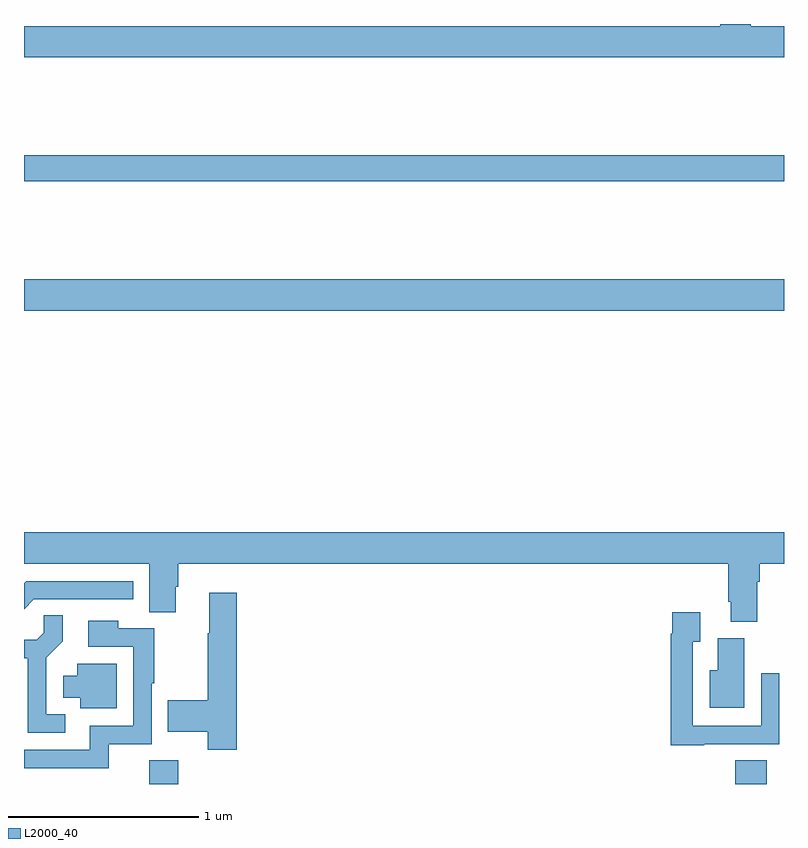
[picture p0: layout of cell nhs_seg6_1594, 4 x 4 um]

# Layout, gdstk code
import gdstk
lib = gdstk.Library(unit=1e-6, precision=1e-09)
def R(c, l, rs):  # rectangles x0, y0, x1, y1
    for r in rs: c.add(gdstk.rectangle(r[:2], r[2:], *l))
def P(c, l, *ps):  # polygons
    for p in ps: c.add(gdstk.Polygon(p, *l))
L2000_40 = (2000, 40)

nhs_seg6_1594 = lib.new_cell('nhs_seg6_1594')
R(nhs_seg6_1594, L2000_40, [(207.659,955.5,207.812,955.625), (210.743,955.5,210.908,955.625), (207,957.992,211,958.156), (207,958.672,211,958.808)])
P(nhs_seg6_1594, L2000_40, [(211,959.488),(210.825,959.488),(210.825,959.5),(210.665,959.5),(210.665,959.488),(207,959.488),(207,959.324),(211,959.324)],
  [(207,956.66),(207.659,956.66),(207.659,956.404),(207.799,956.404),(207.799,956.538),(207.812,956.538),(207.812,956.66),(210.707,956.66),(210.707,956.458),(210.719,956.458),(210.719,956.353),(210.859,956.353),(210.859,956.564),(210.872,956.564),(210.872,956.66),(211,956.66),(211,956.824),(207,956.824)],
  [(207.051,956.472),(207.574,956.472),(207.574,956.568),(207.012,956.568),(207,956.556),(207,956.421)],
  [(208.121,956.506),(207.974,956.506),(207.974,956.293),(207.967,956.293),(207.967,955.941),(207.757,955.941),(207.757,955.775),(207.967,955.775),(207.967,955.68),(208.121,955.68)],
  [(210.579,955.71),(210.975,955.71),(210.975,956.083),(210.879,956.083),(210.879,955.806),(210.519,955.806),(210.519,956.248),(210.559,956.248),(210.559,956.404),(210.411,956.404),(210.411,956.291),(210.403,956.291),(210.403,955.703),(210.579,955.703)],
  [(207.217,955.866),(207.117,955.866),(207.117,956.165),(207.203,956.251),(207.203,956.387),(207.105,956.387),(207.105,956.296),(207.068,956.259),(207,956.259),(207,956.162),(207.02,956.162),(207.02,955.77),(207.217,955.77)],
  [(207.446,955.71),(207.672,955.71),(207.672,956.029),(207.685,956.029),(207.685,956.319),(207.495,956.319),(207.495,956.359),(207.339,956.359),(207.339,956.223),(207.576,956.223),(207.576,955.806),(207.347,955.806),(207.347,955.68),(207,955.68),(207,955.584),(207.446,955.584)],
  [(210.79,956.268),(210.65,956.268),(210.65,956.098),(210.608,956.098),(210.608,955.901),(210.79,955.901)],
  [(207.487,956.134),(207.281,956.134),(207.281,956.071),(207.206,956.071),(207.206,955.955),(207.296,955.955),(207.296,955.898),(207.487,955.898)])

lib.write_gds('nhs_seg6_1594.gds')
